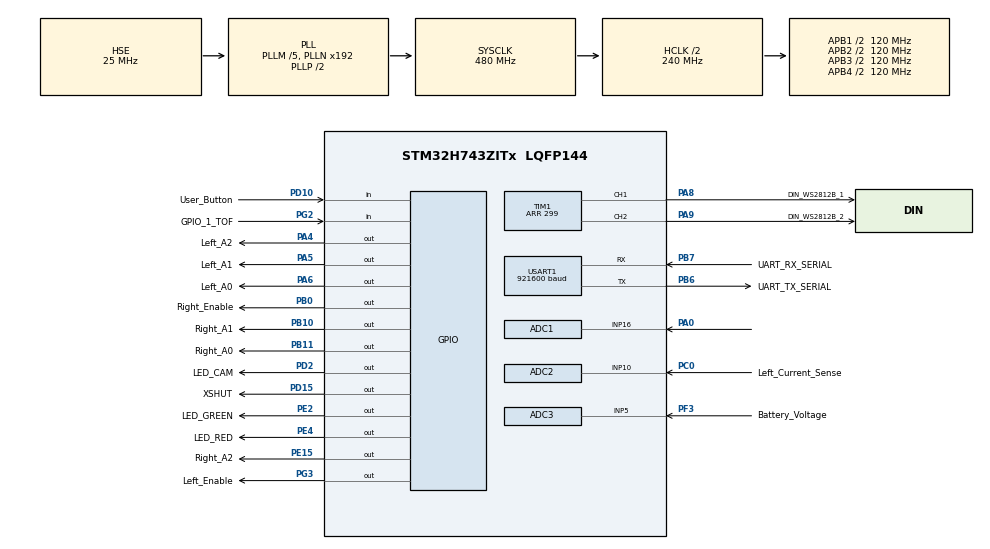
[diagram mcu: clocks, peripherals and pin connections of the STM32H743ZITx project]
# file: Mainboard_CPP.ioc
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ADC1.Channel-0\#ChannelRegularConversion=ADC_CHANNEL_16
ADC1.ClockPrescaler=ADC_CLOCK_ASYNC_DIV2
ADC1.NbrOfConversionFlag=1
ADC1.Ratio=32
ADC1.master=1
ADC2.Channel-0\#ChannelRegularConversion=ADC_CHANNEL_10
ADC2.ClockPrescaler=ADC_CLOCK_ASYNC_DIV2
ADC2.NbrOfConversionFlag=1
ADC2.OffsetNumber-0\#ChannelRegularConversion=ADC_OFFSET_NONE
ADC2.OffsetSignedSaturation-0\#ChannelRegularConversion=DISABLE
ADC2.Rank-0\#ChannelRegularConversion=1
ADC2.Ratio=32
ADC2.SamplingTime-0\#ChannelRegularConversion=ADC_SAMPLETIME_1CYCLE_5
ADC3.Channel-0\#ChannelRegularConversion=ADC_CHANNEL_5
ADC3.ClockPrescaler=ADC_CLOCK_ASYNC_DIV2
ADC3.NbrOfConversionFlag=1
ADC3.OffsetNumber-0\#ChannelRegularConversion=ADC_OFFSET_NONE
ADC3.OffsetSignedSaturation-0\#ChannelRegularConversion=DISABLE
ADC3.Rank-0\#ChannelRegularConversion=1
ADC3.Ratio=32
ADC3.Resolution=ADC_RESOLUTION_14B
ADC3.SamplingTime-0\#ChannelRegularConversion=ADC_SAMPLETIME_1CYCLE_5
CORTEX_M7.default_mode_Activation=1
Dma.Request0=TIM1_CH1
Dma.Request1=TIM1_CH2
Dma.Request2=USART1_TX
Dma.TIM1_CH1.0.Direction=DMA_MEMORY_TO_PERIPH
Dma.TIM1_CH1.0.EventEnable=DISABLE
Dma.TIM1_CH1.0.FIFOMode=DMA_FIFOMODE_DISABLE
Dma.TIM1_CH1.0.Instance=DMA1_Stream0
Dma.TIM1_CH1.0.MemDataAlignment=DMA_MDATAALIGN_HALFWORD
Dma.TIM1_CH1.0.MemInc=DMA_MINC_ENABLE
Dma.TIM1_CH1.0.Mode=DMA_NORMAL
Dma.TIM1_CH1.0.PeriphDataAlignment=DMA_PDATAALIGN_HALFWORD
Dma.TIM1_CH1.0.PeriphInc=DMA_PINC_DISABLE
Dma.TIM1_CH1.0.Polarity=HAL_DMAMUX_REQ_GEN_RISING
Dma.TIM1_CH1.0.Priority=DMA_PRIORITY_HIGH
Dma.TIM1_CH1.0.RequestNumber=1
Dma.TIM1_CH1.0.SignalID=NONE
Dma.TIM1_CH1.0.SyncEnable=DISABLE
Dma.TIM1_CH1.0.SyncPolarity=HAL_DMAMUX_SYNC_NO_EVENT
Dma.TIM1_CH1.0.SyncRequestNumber=1
Dma.TIM1_CH1.0.SyncSignalID=NONE
Dma.TIM1_CH2.1.Direction=DMA_MEMORY_TO_PERIPH
Dma.TIM1_CH2.1.EventEnable=DISABLE
Dma.TIM1_CH2.1.FIFOMode=DMA_FIFOMODE_DISABLE
Dma.TIM1_CH2.1.Instance=DMA1_Stream1
Dma.TIM1_CH2.1.MemDataAlignment=DMA_MDATAALIGN_HALFWORD
Dma.TIM1_CH2.1.MemInc=DMA_MINC_ENABLE
Dma.TIM1_CH2.1.Mode=DMA_NORMAL
Dma.TIM1_CH2.1.PeriphDataAlignment=DMA_PDATAALIGN_HALFWORD
Dma.TIM1_CH2.1.PeriphInc=DMA_PINC_DISABLE
Dma.TIM1_CH2.1.Polarity=HAL_DMAMUX_REQ_GEN_RISING
Dma.TIM1_CH2.1.Priority=DMA_PRIORITY_HIGH
Dma.TIM1_CH2.1.RequestNumber=1
Dma.TIM1_CH2.1.SignalID=NONE
Dma.TIM1_CH2.1.SyncEnable=DISABLE
Dma.TIM1_CH2.1.SyncPolarity=HAL_DMAMUX_SYNC_NO_EVENT
Dma.TIM1_CH2.1.SyncRequestNumber=1
Dma.TIM1_CH2.1.SyncSignalID=NONE
Dma.USART1_TX.2.Direction=DMA_MEMORY_TO_PERIPH
Dma.USART1_TX.2.EventEnable=DISABLE
Dma.USART1_TX.2.FIFOMode=DMA_FIFOMODE_DISABLE
Dma.USART1_TX.2.Instance=DMA1_Stream7
Dma.USART1_TX.2.MemDataAlignment=DMA_MDATAALIGN_BYTE
Dma.USART1_TX.2.MemInc=DMA_MINC_ENABLE
Dma.USART1_TX.2.Mode=DMA_NORMAL
Dma.USART1_TX.2.PeriphDataAlignment=DMA_PDATAALIGN_BYTE
Dma.USART1_TX.2.PeriphInc=DMA_PINC_DISABLE
Dma.USART1_TX.2.Polarity=HAL_DMAMUX_REQ_GEN_RISING
Dma.USART1_TX.2.Priority=DMA_PRIORITY_HIGH
Dma.USART1_TX.2.RequestNumber=1
Dma.USART1_TX.2.SignalID=NONE
Dma.USART1_TX.2.SyncEnable=DISABLE
Dma.USART1_TX.2.SyncPolarity=HAL_DMAMUX_SYNC_NO_EVENT
Dma.USART1_TX.2.SyncRequestNumber=1
Dma.USART1_TX.2.SyncSignalID=NONE
Mcu.Family=STM32H7
Mcu.Name=STM32H743ZITx
Mcu.Package=LQFP144
NVIC.DMA1_Stream0_IRQn=true\:0\:0\:false\:false\:true\:false\:true\:true
NVIC.DMA1_Stream1_IRQn=true\:0\:0\:false\:false\:true\:false\:true\:true
NVIC.DMA1_Stream7_IRQn=true\:0\:0\:false\:false\:true\:false\:true\:true
NVIC.PriorityGroup=NVIC_PRIORITYGROUP_4
NVIC.USART1_IRQn=true\:0\:0\:false\:false\:true\:true\:true\:true
PA0.GPIO_Mode=GPIO_MODE_ANALOG
PA0.GPIO_Pd=GPIO_NOPULL
PA0.Mode=IN16-Single-Ended
PA0.Signal=ADC1_INP16
PA13\ (JTMS/SWDIO).Signal=DEBUG_JTMS-SWDIO
PA14\ (JTCK/SWCLK).Signal=DEBUG_JTCK-SWCLK
PA4.GPIO_Label=Left_A2
PA4.Signal=GPIO_Output
PA5.GPIO_Label=Left_A1
PA5.Signal=GPIO_Output
PA6.GPIO_Label=Left_A0
PA6.Signal=GPIO_Output
PA8.GPIO_Label=DIN_WS2812B_1
PA8.GPIO_Speed=GPIO_SPEED_FREQ_VERY_HIGH
PA8.Signal=S_TIM1_CH1
PA9.GPIO_Label=DIN_WS2812B_2
PA9.GPIO_Speed=GPIO_SPEED_FREQ_VERY_HIGH
PA9.Signal=S_TIM1_CH2
PB0.GPIO_Label=Right_Enable
PB0.PinState=GPIO_PIN_SET
PB0.Signal=GPIO_Output
PB10.GPIO_Label=Right_A1
PB10.Signal=GPIO_Output
PB11.GPIO_Label=Right_A0
PB11.Signal=GPIO_Output
PB3\ (JTDO/TRACESWO).Signal=DEBUG_JTDO-SWO
PB6.GPIO_Label=UART_TX_SERIAL
PB6.GPIO_PuPd=GPIO_NOPULL
PB6.GPIO_Speed=GPIO_SPEED_FREQ_VERY_HIGH
PB6.Mode=Asynchronous
PB6.Signal=USART1_TX
PB7.GPIO_Label=UART_RX_SERIAL
PB7.GPIO_Speed=GPIO_SPEED_FREQ_VERY_HIGH
PB7.Mode=Asynchronous
PB7.Signal=USART1_RX
PB8.GPIO_Speed=GPIO_SPEED_FREQ_VERY_HIGH
PB8.Signal=I2C1_SCL
PB9.GPIO_Speed=GPIO_SPEED_FREQ_VERY_HIGH
PB9.Signal=I2C1_SDA
PC0.GPIO_Label=Left_Current_Sense
PC0.Signal=ADCx_INP10
PC14-OSC32_IN\ (OSC32_IN).Mode=LSE-External-Oscillator
PC14-OSC32_IN\ (OSC32_IN).Signal=RCC_OSC32_IN
PC15-OSC32_OUT\ (OSC32_OUT).Mode=LSE-External-Oscillator
PC15-OSC32_OUT\ (OSC32_OUT).Signal=RCC_OSC32_OUT
PD10.GPIO_Label=User_Button
PD10.Signal=GPIO_Input
PD15.GPIO_Label=XSHUT
PD15.Signal=GPIO_Output
PD2.GPIO_Label=LED_CAM
PD2.Signal=GPIO_Output
PE15.GPIO_Label=Right_A2
PE15.Signal=GPIO_Output
PE2.GPIO_Label=LED_GREEN
PE2.Signal=GPIO_Output
PE4.GPIO_Label=LED_RED
PE4.Signal=GPIO_Output
PF3.GPIO_Label=Battery_Voltage
PF3.Mode=IN5-Single-Ended
PF3.Signal=ADC3_INP5
PG2.GPIO_Label=GPIO_1_TOF
PG2.GPIO_PuPd=GPIO_PULLUP
PG2.Signal=GPIO_Input
PG3.GPIO_Label=Left_Enable
PG3.PinState=GPIO_PIN_SET
PG3.Signal=GPIO_Output
PH0-OSC_IN\ (PH0).Mode=HSE-External-Oscillator
PH0-OSC_IN\ (PH0).Signal=RCC_OSC_IN
PH1-OSC_OUT\ (PH1).Mode=HSE-External-Oscillator
PH1-OSC_OUT\ (PH1).Signal=RCC_OSC_OUT
ProjectManager.HeapSize=0x200
ProjectManager.StackSize=0x400
ProjectManager.TargetToolchain=STM32CubeIDE
RCC.ADCFreq_Value=75000000
RCC.APB1Freq_Value=120000000
RCC.APB2Freq_Value=120000000
RCC.APB3Freq_Value=120000000
RCC.APB4Freq_Value=120000000
RCC.CortexFreq_Value=480000000
RCC.D1PPRE=RCC_APB3_DIV2
RCC.D2PPRE1=RCC_APB1_DIV2
RCC.D2PPRE2=RCC_APB2_DIV2
RCC.D3PPRE=RCC_APB4_DIV2
RCC.DIVM1=5
RCC.DIVM2=2
RCC.DIVN1=192
RCC.DIVN2=12
RCC.HCLKFreq_Value=240000000
RCC.HPRE=RCC_HCLK_DIV2
RCC.HSE_VALUE=25000000
RCC.HSIDiv=RCC_PLLSAIDIVR_2
RCC.PLL2FRACN=0
RCC.PLLFRACN=0
RCC.PLLSourceVirtual=RCC_PLLSOURCE_HSE
RCC.SYSCLKFreq_VALUE=480000000
RCC.SYSCLKSource=RCC_SYSCLKSOURCE_PLLCLK
RCC.USBFreq_Value=480000000
SH.ADCx_INP10.0=ADC2_INP10,IN10-Single-Ended
SH.S_TIM1_CH1.0=TIM1_CH1,PWM Generation1 CH1
SH.S_TIM1_CH2.0=TIM1_CH2,PWM Generation2 CH2
STMicroelectronics.X-CUBE-MEMS1.12.1.0.BoardOoPartJjAccGyrIspuJjLSM6DSO16IS=I2C
TIM1.AutoReloadPreload=TIM_AUTORELOAD_PRELOAD_ENABLE
TIM1.AutomaticOutput=TIM_AUTOMATICOUTPUT_ENABLE
TIM1.Channel-PWM\ Generation1\ CH1=TIM_CHANNEL_1
TIM1.Channel-PWM\ Generation2\ CH2=TIM_CHANNEL_2
TIM1.Period=299
USART1.BaudRate=921600
USART1.VirtualMode-Asynchronous=VM_ASYNC
VP_MEMORYMAP_VS_MEMORYMAP.Mode=CurAppReg
VP_STMicroelectronics.X-CUBE-MEMS1_VS_BoardOoPartJjAccGyrIspu_1.7.0_12.1.0.Mode=BoardOoPartJjAccGyrIspu
VP_TIM1_VS_ClockSourceINT.Mode=Internal
board=custom

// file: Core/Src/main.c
/* USER CODE BEGIN Header */
/**
  ******************************************************************************
  * @file           : main.c
  * @brief          : Main program body
  ******************************************************************************
  * @attention
  *
  * Copyright (c) 2026 STMicroelectronics.
  * All rights reserved.
  *
  * This software is licensed under terms that can be found in the LICENSE file
  * in the root directory of this software component.
  * If no LICENSE file comes with this software, it is provided AS-IS.
  *
  ******************************************************************************
  */
/* USER CODE END Header */
#include "main.h"
#include "adc.h"
#include "dma.h"
#include "tim.h"
#include "usart.h"
#include "gpio.h"

/* USER CODE BEGIN Includes */
#include "app_main.h"
#include "i2c.h"
#include "adc.h"
#include "uart_dma_tx.h"
#include "pca9685.h"

/* USER CODE END Includes */

void SystemClock_Config(void);
void PeriphCommonClock_Config(void);
static void MPU_Config(void);

int main(void)
{

  /* USER CODE BEGIN 1 */
  /* OE-pin priming moved to USER CODE BEGIN SysInit (after HAL_Init +
   * SystemClock_Config). The previous location ran before the supply
   * regulator was configured and before VOSRDY had been waited on, which
   * could buffer a store to a not-yet-fully-clocked AHB peripheral and
   * trap an imprecise BusFault much later in boot. */
  /* USER CODE END 1 */

  /* MPU Configuration--------------------------------------------------------*/
  MPU_Config();

  /* MCU Configuration--------------------------------------------------------*/

  /* Reset of all peripherals, Initializes the Flash interface and the Systick. */
  HAL_Init();

  /* Configure the system clock */
  SystemClock_Config();

  /* Configure the peripherals common clocks */
  PeriphCommonClock_Config();

  /* USER CODE BEGIN SysInit */
  /* Drive servo OE pins HIGH as early as possible after the supply, PLL,
   * and AHB bus are stable. The PCA9685 OE has an internal pull-down, so
   * leaving these pins floating after reset briefly enables the outputs.
   * Right_Enable = PB0   Left_Enable = PG3 */
  __HAL_RCC_GPIOB_CLK_ENABLE();
  __HAL_RCC_GPIOG_CLK_ENABLE();
  (void)RCC->AHB4ENR;                 /* read-back: guarantees clock is on */
  __DSB();
  GPIOB->BSRR  = GPIO_PIN_0;
  GPIOG->BSRR  = GPIO_PIN_3;
  GPIOB->MODER = (GPIOB->MODER & ~(3UL << (0 * 2))) | (1UL << (0 * 2));
  GPIOG->MODER = (GPIOG->MODER & ~(3UL << (3 * 2))) | (1UL << (3 * 2));
  __DSB();

  /* On cold power-on the supply rails need time to stabilize (LiPo → BEC →
   * 3.3V regulator). Detect POR and wait 2.5 s BEFORE any peripheral init
   * that depends on a clean VDDA — most importantly MX_ADC*_Init, which
   * enables the ADC voltage regulator and latches it into a bad state if
   * VDDA is still ramping. Clear the flag so the next NRST/debugger reset
   * takes the shorter path. */
  if (__HAL_RCC_GET_FLAG(RCC_FLAG_PORRST)) {
      __HAL_RCC_CLEAR_RESET_FLAGS();
      HAL_Delay(2500);
  } else {
      HAL_Delay(200);
  }
  /* USER CODE END SysInit */

  /* Initialize all configured peripherals */
  MX_GPIO_Init();
  MX_DMA_Init();
  MX_USART1_UART_Init();
  MX_ADC1_Init();
  MX_ADC2_Init();
  MX_ADC3_Init();
  MX_TIM1_Init();
  /* USER CODE BEGIN 2 */
  uart_dma_tx_init(&huart1, &hdma_usart1_tx);

  /* Release XSHUT so the VL53L1X is not holding the I2C bus during bus clear.
   * VL53L1X needs ~1.2 ms boot after XSHUT release; 10 ms is generous. */
  HAL_GPIO_WritePin(XSHUT_GPIO_Port, XSHUT_Pin, GPIO_PIN_SET);
  HAL_Delay(10);

  /* Reset the I2C1 peripheral via RCC before bit-bang bus clear.
   * HAL_I2C_DeInit on the uninitialized handle (Instance = 0) is a no-op
   * because MspDeInit checks Instance == I2C1; RCC force-reset guarantees
   * a clean peripheral state regardless of what the prior firmware left. */
  __HAL_RCC_I2C1_FORCE_RESET();
  HAL_Delay(2);
  __HAL_RCC_I2C1_RELEASE_RESET();
  I2C_BusClear();
  I2C1_Init();

  /* Global software reset for all PCA9685 boards on the bus */
  PCA9685_SoftwareReset(&hi2c1);
  HAL_Delay(50);

  HAL_ADCEx_Calibration_Start(&hadc1, ADC_CALIB_OFFSET_LINEARITY, ADC_SINGLE_ENDED);
  HAL_ADCEx_Calibration_Start(&hadc2, ADC_CALIB_OFFSET_LINEARITY, ADC_SINGLE_ENDED);
  HAL_ADCEx_Calibration_Start(&hadc3, ADC_CALIB_OFFSET_LINEARITY, ADC_SINGLE_ENDED);
  ADC_Init(&hadc1, &hadc2, &hadc3);

  /* Enter C++ application — never returns */
  app_main();

  /* USER CODE END 2 */

  /* Infinite loop */
  while (1)
  {

  }
}

void SystemClock_Config(void)
{
  RCC_OscInitTypeDef RCC_OscInitStruct = {0};
  RCC_ClkInitTypeDef RCC_ClkInitStruct = {0};

  /** Supply configuration update enable
  */
  HAL_PWREx_ConfigSupply(PWR_LDO_SUPPLY);

  /** Configure the main internal regulator output voltage
  */
  __HAL_PWR_VOLTAGESCALING_CONFIG(PWR_REGULATOR_VOLTAGE_SCALE0);

  while(!__HAL_PWR_GET_FLAG(PWR_FLAG_VOSRDY)) {}

  /** Initializes the RCC Oscillators according to the specified parameters
  * in the RCC_OscInitTypeDef structure.
  */
  RCC_OscInitStruct.OscillatorType = RCC_OSCILLATORTYPE_HSE;
  RCC_OscInitStruct.HSEState = RCC_HSE_ON;
  RCC_OscInitStruct.PLL.PLLState = RCC_PLL_ON;
  RCC_OscInitStruct.PLL.PLLSource = RCC_PLLSOURCE_HSE;
  RCC_OscInitStruct.PLL.PLLM = 5;
  RCC_OscInitStruct.PLL.PLLN = 192;
  RCC_OscInitStruct.PLL.PLLP = 2;
  RCC_OscInitStruct.PLL.PLLQ = 2;
  RCC_OscInitStruct.PLL.PLLR = 2;
  RCC_OscInitStruct.PLL.PLLRGE = RCC_PLL1VCIRANGE_2;
  RCC_OscInitStruct.PLL.PLLVCOSEL = RCC_PLL1VCOWIDE;
  RCC_OscInitStruct.PLL.PLLFRACN = 0;
  if (HAL_RCC_OscConfig(&RCC_OscInitStruct) != HAL_OK)
  {
    Error_Handler();
  }

  /** Initializes the CPU, AHB and APB buses clocks
  */
  RCC_ClkInitStruct.ClockType = RCC_CLOCKTYPE_HCLK|RCC_CLOCKTYPE_SYSCLK
                              |RCC_CLOCKTYPE_PCLK1|RCC_CLOCKTYPE_PCLK2
                              |RCC_CLOCKTYPE_D3PCLK1|RCC_CLOCKTYPE_D1PCLK1;
  RCC_ClkInitStruct.SYSCLKSource = RCC_SYSCLKSOURCE_PLLCLK;
  RCC_ClkInitStruct.SYSCLKDivider = RCC_SYSCLK_DIV1;
  RCC_ClkInitStruct.AHBCLKDivider = RCC_HCLK_DIV2;
  RCC_ClkInitStruct.APB3CLKDivider = RCC_APB3_DIV2;
  RCC_ClkInitStruct.APB1CLKDivider = RCC_APB1_DIV2;
  RCC_ClkInitStruct.APB2CLKDivider = RCC_APB2_DIV2;
  RCC_ClkInitStruct.APB4CLKDivider = RCC_APB4_DIV2;

  if (HAL_RCC_ClockConfig(&RCC_ClkInitStruct, FLASH_LATENCY_4) != HAL_OK)
  {
    Error_Handler();
  }
}

void PeriphCommonClock_Config(void)
{
  RCC_PeriphCLKInitTypeDef PeriphClkInitStruct = {0};

  /** Initializes the peripherals clock
  */
  PeriphClkInitStruct.PeriphClockSelection = RCC_PERIPHCLK_ADC;
  PeriphClkInitStruct.PLL2.PLL2M = 2;
  PeriphClkInitStruct.PLL2.PLL2N = 12;
  PeriphClkInitStruct.PLL2.PLL2P = 2;
  PeriphClkInitStruct.PLL2.PLL2Q = 2;
  PeriphClkInitStruct.PLL2.PLL2R = 2;
  PeriphClkInitStruct.PLL2.PLL2RGE = RCC_PLL2VCIRANGE_3;
  PeriphClkInitStruct.PLL2.PLL2VCOSEL = RCC_PLL2VCOMEDIUM;
  PeriphClkInitStruct.PLL2.PLL2FRACN = 0;
  PeriphClkInitStruct.AdcClockSelection = RCC_ADCCLKSOURCE_PLL2;
  if (HAL_RCCEx_PeriphCLKConfig(&PeriphClkInitStruct) != HAL_OK)
  {
    Error_Handler();
  }
}

 /* MPU Configuration */

void MPU_Config(void)
{
  MPU_Region_InitTypeDef MPU_InitStruct = {0};

  /* Disables the MPU */
  HAL_MPU_Disable();

  /** Initializes and configures the Region and the memory to be protected
  */
  MPU_InitStruct.Enable = MPU_REGION_ENABLE;
  MPU_InitStruct.Number = MPU_REGION_NUMBER0;
  MPU_InitStruct.BaseAddress = 0x0;
  MPU_InitStruct.Size = MPU_REGION_SIZE_4GB;
  MPU_InitStruct.SubRegionDisable = 0x87;
  MPU_InitStruct.TypeExtField = MPU_TEX_LEVEL0;
  MPU_InitStruct.AccessPermission = MPU_REGION_NO_ACCESS;
  MPU_InitStruct.DisableExec = MPU_INSTRUCTION_ACCESS_DISABLE;
  MPU_InitStruct.IsShareable = MPU_ACCESS_SHAREABLE;
  MPU_InitStruct.IsCacheable = MPU_ACCESS_NOT_CACHEABLE;
  MPU_InitStruct.IsBufferable = MPU_ACCESS_NOT_BUFFERABLE;

  HAL_MPU_ConfigRegion(&MPU_InitStruct);
  /* Enables the MPU */
  HAL_MPU_Enable(MPU_PRIVILEGED_DEFAULT);

}

void Error_Handler(void)
{
  __disable_irq();
  while (1)
  {
  }
}
